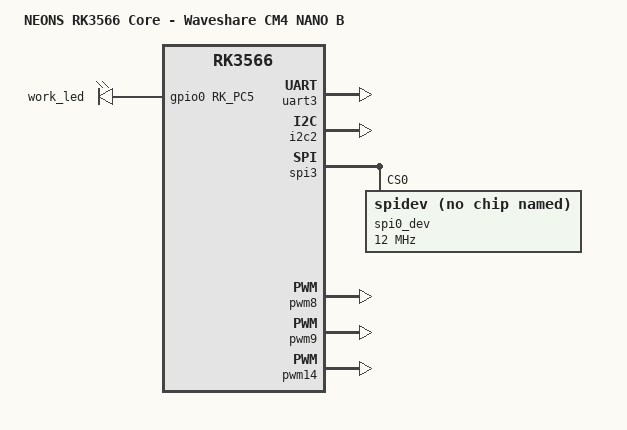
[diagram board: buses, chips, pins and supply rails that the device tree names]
/dts-v1/;

#include <dt-bindings/gpio/gpio.h>
#include <dt-bindings/display/media-bus-format.h>
#include <dt-bindings/pinctrl/rockchip.h>
#include "rk3566.dtsi"
#include <dt-bindings/display/rockchip_vop.h>

#include "rk3566-neons-core.dtsi"
#include "rk3566-neons-core-hdmi.dtsi"
//#include "rk3566-neons-core-csi.dtsi"
#include "rk3566-neons-core-csi-cm4-cam1.dtsi"
#include "rk3566-neons-core-gmac1.dtsi"

/ {
	model = "NEONS RK3566 Core - Waveshare CM4 NANO B";
	compatible = "neons,core3566", "rockchip,rk3566";

	rk_headset: rk-headset {
		compatible = "rockchip_headset";
		headset_gpio = <&gpio0 RK_PC5 GPIO_ACTIVE_HIGH>;
		pinctrl-names = "default";
		pinctrl-0 = <&hp_det>;
	};

    leds: leds {
        compatible = "gpio-leds";
        work_led: work{
            gpios = <&gpio0 RK_PC5 GPIO_ACTIVE_HIGH>;
            linux,default-trigger = "timer";
            default-state = "on";
		};
	};

	mcp251x_clk:mcp251x-clk{
        compatible = "fixed-clock";
        #clock-cells = <0>;
        clock-frequency = <16000000>;
    };
    
    sc16is752_clk:sc16is752-clk{
        compatible = "fixed-clock";
        #clock-cells = <0>;
        clock-output-names = "sc16is752_clk";
        clock-frequency = <14745600>;
    };

};

&pinctrl {
	headphone {
		hp_det: hp-det {
			rockchip,pins = <0 RK_PC5 RK_FUNC_GPIO &pcfg_pull_none>;
		};
	};
};

//用户三色灯
&leds {
	status = "okay";
};

//耳机插入检测，不使用扩展板情况需关闭，否则默认会检测到耳机插入
&rk_headset {
	status = "disabled";
};

//用户串口3
&uart3 {
	status = "okay";
	pinctrl-names = "default";
	pinctrl-0 = <&uart3m1_xfer>;
};

//用户I2C2
&i2c2 {
	status = "okay";

	/*添加你的I2C设备参考
	gt1x: gt1x@14 {
		compatible = "goodix,gt1x";
		reg = <0x14>;
		pinctrl-names = "default";
		pinctrl-0 = <&touch_gpio>;
		goodix,rst-gpio = <&gpio0 RK_PB6 GPIO_ACTIVE_HIGH>;
		goodix,irq-gpio = <&gpio0 RK_PB5 IRQ_TYPE_LEVEL_LOW>;
	};*/
};

&spi3 {
	status = "okay";
	max-freq = <48000000>;
	dma-names = "tx","rx";
	pinctrl-names = "default", "high_speed";
	pinctrl-0 = <&spi3m1_cs0 &spi3m1_pins>;
	pinctrl-1 = <&spi3m1_cs0 &spi3m1_pins_hs>;
    spi0_dev@0 {
        compatible = "rockchip,spidev";
        reg = <0>;
        spi-max-frequency = <12000000>;
        spi-lsb-first;
		status = "okay";
    };
};

&pwm8 {
	status = "okay";
};

&pwm9 {
	status = "okay";
};

&pwm14 {
	status = "okay";
};
